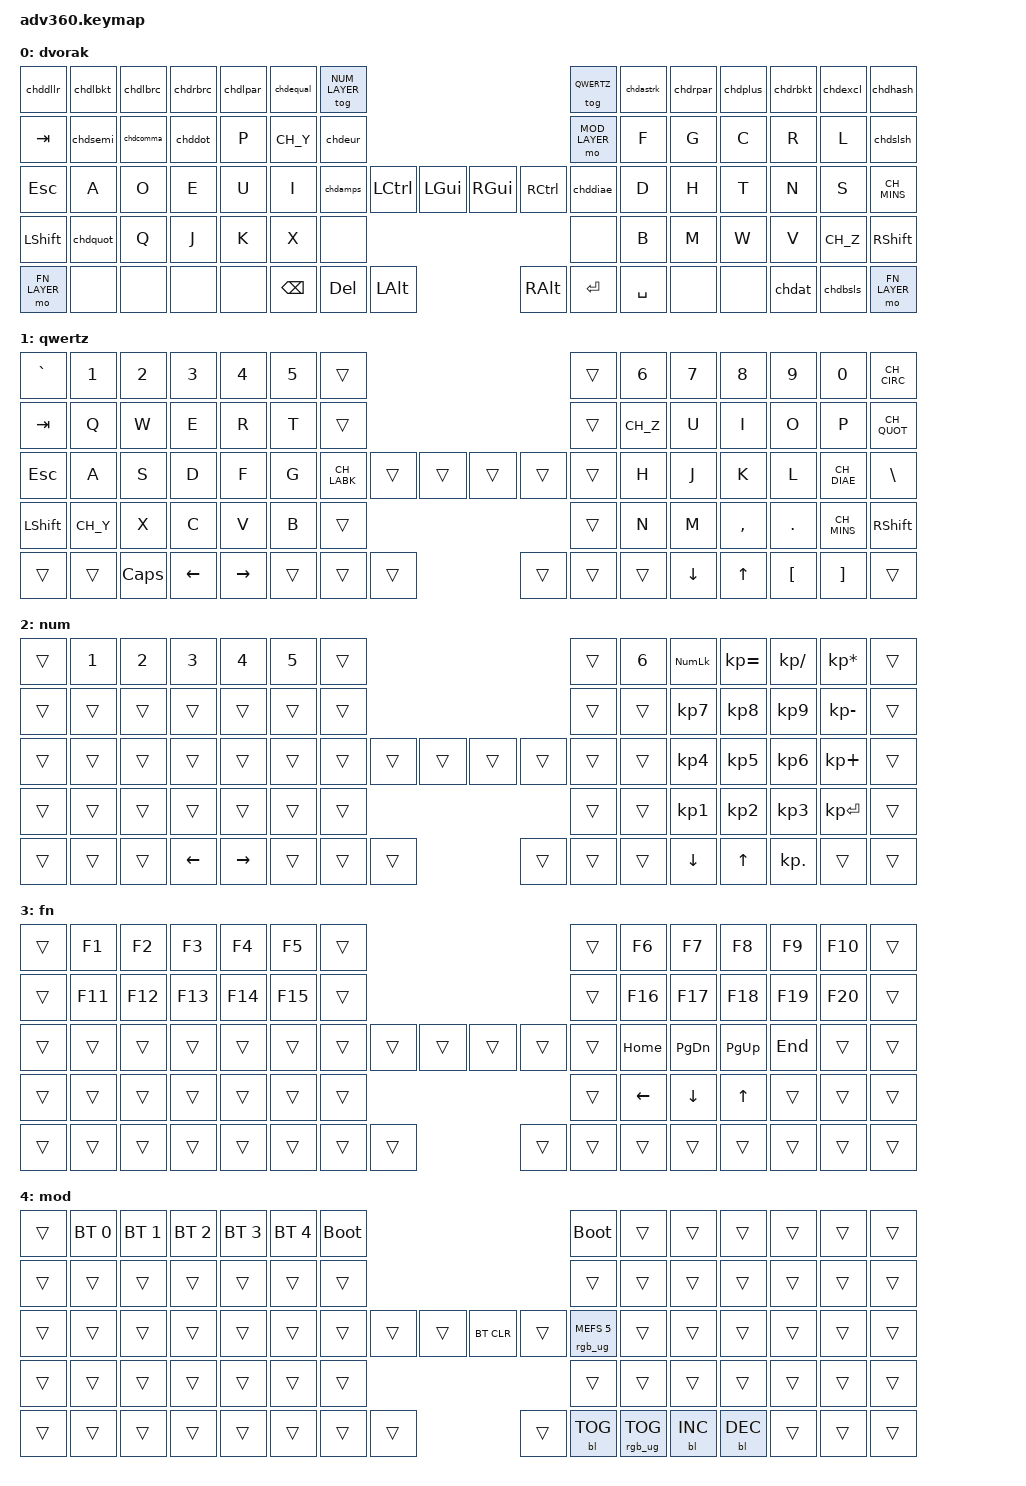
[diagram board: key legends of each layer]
#include <behaviors.dtsi>
#include <dt-bindings/zmk/keys.h>
#include "keys_de_swiss.h"
#include <dt-bindings/zmk/bt.h>
#include <dt-bindings/zmk/rgb.h>
#include <dt-bindings/zmk/backlight.h>
#include <dt-bindings/zmk/outputs.h>

#define DVORAK 0
#define QWERTZ 1
#define NUM_LAYER 2
#define FN_LAYER 3
#define MOD_LAYER 4

/ {
    behaviors {
        #include "macros.dtsi"
        #include "dvorak_behaviors_ch.dtsi"
        #include "version.dtsi"
        #ifndef VERSION_MACRO
            macro_ver: macro_ver {
              compatible = "zmk,behavior-macro";
              #binding-cells = <0>;
              bindings = <&kp RET>;
            };
        #endif
        hm: homerow_mods {
            compatible = "zmk,behavior-hold-tap";
            #binding-cells = <2>;
            tapping-term-ms = <200>;
            flavor = "tap-preferred";
            bindings = <&kp>, <&kp>;
        };
    };

    keymap {
        compatible = "zmk,keymap";

        // empty {
        //   bindings = <
        //     &trans    &trans  &trans  &trans  &trans  &trans  &trans                                         &trans &trans &trans &trans &trans  &trans  &trans
        //     &trans    &trans  &trans  &trans  &trans  &trans  &trans                                         &trans &trans &trans &trans &trans  &trans  &trans
        //     &trans    &trans  &trans  &trans  &trans  &trans  &trans        &trans &trans &trans &trans      &trans &trans &trans &trans &trans  &trans  &trans
        //     &trans    &trans  &trans  &trans  &trans  &trans                      &trans &trans                     &trans &trans &trans &trans  &trans  &trans
        //     &trans    &trans  &trans  &trans  &trans                &trans &trans &trans &trans &trans &trans              &trans &trans &trans  &trans  &trans
        //   >;
        // };
        
        // DVORAK Layout (Programmer, Switzerland DE adjusted)
        dvorak {
            bindings = <
&chddllr      &chdlbkt  &chdlbrc   &chdrbrc  &chdlpar  &chdequal  &tog NUM_LAYER                                                        &tog QWERTZ    &chdastrk    &chdrpar  &chdplus  &chdrbkt  &chdexcl  &chdhash  
&kp TAB       &chdsemi  &chdcomma  &chddot   &kp P     &kp CH_Y   &chdeur                                                               &mo MOD_LAYER  &kp F        &kp G     &kp C     &kp R     &kp L     &chdslsh
&kp ESC       &kp A     &kp O      &kp E     &kp U     &kp I      &chdamps        &kp LCTRL  &kp LGUI      &kp RGUI   &kp RCTRL         &chddiae       &kp D        &kp H     &kp T     &kp N     &kp S     &kp CH_MINS
&kp LSHFT     &chdquot  &kp Q      &kp J     &kp K     &kp X                                 &none      &none                                          &kp B        &kp M     &kp W     &kp V     &kp CH_Z  &kp RSHFT
&mo FN_LAYER  &none     &none      &none     &none                      &kp BSPC  &kp DEL    &kp LALT   &kp RALT  &kp ENTER  &kp SPACE                              &none     &none     &chdat    &chdbsls  &mo FN_LAYER
            >;
        };

        // QWERTZ Layout (Switzerland DE adjusted)
        qwertz {
            bindings = <
&kp GRAVE  &kp N1     &kp N2    &kp N3    &kp N4     &kp N5  &trans                                             &trans  &kp N6      &kp N7      &kp N8      &kp N9    &kp N0        &kp CH_CIRC
&kp TAB    &kp Q      &kp W     &kp E     &kp R      &kp T   &trans                                             &trans  &kp CH_Z    &kp U       &kp I       &kp O     &kp P         &kp CH_QUOT
&kp ESC    &kp A      &kp S     &kp D     &kp F      &kp G   &kp CH_LABK    &trans  &trans  &trans  &trans      &trans  &kp H       &kp J       &kp K       &kp L     &kp CH_DIAE   &kp BSLH
&kp LSHFT  &kp CH_Y   &kp X     &kp C     &kp V      &kp B                          &trans  &trans                      &kp N       &kp M       &kp COMMA   &kp DOT   &kp CH_MINS   &kp RSHFT
&trans     &trans     &kp CAPS  &kp LEFT  &kp RIGHT                 &trans  &trans  &trans  &trans  &trans  &trans                  &kp DOWN    &kp UP      &kp LBKT  &kp RBKT      &trans
            >;
        };

        // NUM Layer
        num {
            bindings = <
&trans  &kp N1  &kp N2  &kp N3    &kp N4     &kp N5  &trans                                      &trans  &kp N6  &kp KP_NUM  &kp KP_EQUAL  &kp KP_DIVIDE  &kp KP_MULTIPLY  &trans
&trans  &trans  &trans  &trans    &trans     &trans  &trans                                      &trans  &trans  &kp KP_N7   &kp KP_N8     &kp KP_N9      &kp KP_MINUS     &trans
&trans  &trans  &trans  &trans    &trans     &trans  &trans  &trans  &trans      &trans  &trans  &trans  &trans  &kp KP_N4   &kp KP_N5     &kp KP_N6      &kp KP_PLUS      &trans
&trans  &trans  &trans  &trans    &trans     &trans                  &trans      &trans                  &trans  &kp KP_N1   &kp KP_N2     &kp KP_N3      &kp KP_ENTER     &trans
&trans  &trans  &trans  &kp LEFT  &kp RIGHT          &trans  &trans  &trans      &trans  &trans  &trans          &kp DOWN     &kp UP      &kp KP_DOT     &trans           &trans
            >;
        };

        // FN Layer
        fn {
            bindings = <
&trans  &kp F1   &kp F2   &kp F3   &kp F4   &kp F5   &trans                                      &trans  &kp F6   &kp F7   &kp F8   &kp F9   &kp F10  &trans
&trans  &kp F11  &kp F12  &kp F13  &kp F14  &kp F15  &trans                                      &trans  &kp F16  &kp F17  &kp F18  &kp F19  &kp F20  &trans
&trans  &trans   &trans   &trans   &trans   &trans   &trans  &trans  &trans      &trans  &trans  &trans  &kp HOME   &kp PG_DN   &kp PG_UP   &kp END   &trans   &trans
&trans  &trans   &trans   &trans   &trans   &trans                   &trans      &trans                  &kp LEFT   &kp DOWN   &kp UP   &trans   &trans   &trans
&trans  &trans   &trans   &trans   &trans            &trans  &trans  &trans      &trans  &trans  &trans           &trans   &trans   &trans   &trans   &trans
            >;
        };
        
        // MOD Layer
        
        mod {
            bindings = <
        &trans &bt BT_SEL 0 &bt BT_SEL 1 &bt BT_SEL 2 &bt BT_SEL 3 &bt BT_SEL 4 &bootloader                                                                     &bootloader                 &trans        &trans        &trans        &trans &trans &trans
        &trans &trans        &trans        &trans        &trans        &trans        &trans                                                               &trans            &trans        &trans        &trans        &trans &trans &trans
        &trans &trans        &trans        &trans        &trans        &trans        &trans                   &trans &trans &bt BT_CLR &trans                      &rgb_ug RGB_MEFS_CMD 5 &trans        &trans        &trans        &trans &trans &trans
        &trans &trans        &trans        &trans        &trans        &trans                                      &trans &trans                                                        &trans        &trans        &trans        &trans &trans &trans
        &trans &trans        &trans        &trans        &trans                                       &trans &trans &trans &trans      &bl BL_TOG &rgb_ug RGB_TOG                                     &bl BL_INC   &bl BL_DEC   &trans &trans &trans
            >;
        };
    };
};
